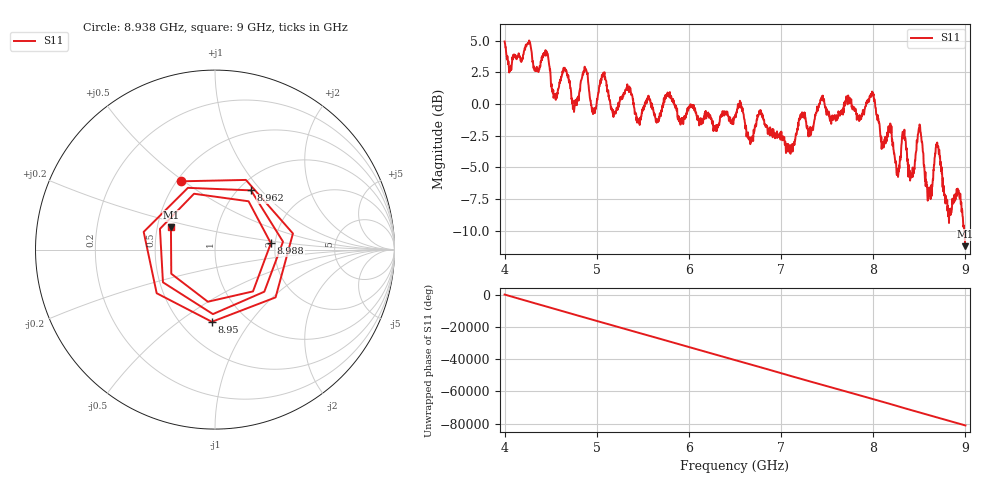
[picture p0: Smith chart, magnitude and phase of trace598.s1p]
! Created with skrf 1.8.0 (http://scikit-rf.org).
# Hz S RI R 50.0
!freq ReS11 ImS11
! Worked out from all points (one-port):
!   1601 points, 4 GHz to 9 GHz, reference 50 ohm
!   lowest |S11| = -11.2 dB at 9 GHz (marker M1), VSWR 1.76, Z = 29.5 + j7.91 ohm
!   |S11| at or under -10 dB: 8.987153 GHz to end of sweep
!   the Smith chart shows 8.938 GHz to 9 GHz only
!   S11 on the Smith chart (normalised r, x): 8.938 GHz: 0.53, +0.49; 8.95 GHz: 0.70, -0.67; 8.962 GHz: 1.14, +0.88; 8.988 GHz: 1.90, +0.15; 9 GHz: 0.59, +0.16
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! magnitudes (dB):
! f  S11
! 4 GHz  4.9
! 4.45 GHz  4.0
! 4.547 GHz  0.6
! 4.625 GHz  2.3
! 4.759 GHz  -0.2
! 4.875 GHz  2.8
! 4.962 GHz  -0.4
! 5.072 GHz  2.5
! 5.25 GHz  0.2
! 5.875 GHz  -1.0
! 6.5 GHz  -1.0
! 7.125 GHz  -3.7
! 7.441 GHz  0.6
! 7.75 GHz  0.3
! 7.991 GHz  0.8
! 8.1 GHz  -3.0
! 8.331 GHz  -2.1
! 8.375 GHz  -4.8
! 8.425 GHz  -5.5
! 8.506 GHz  -1.8
! 8.603 GHz  -7.0
! 8.697 GHz  -3.3
! 8.822 GHz  -9.4
! 8.938 GHz  -7.4
! 8.95 GHz  -7.9
! 8.962 GHz  -8.3
! 8.988 GHz  -10.1
! 9 GHz  -11.2
